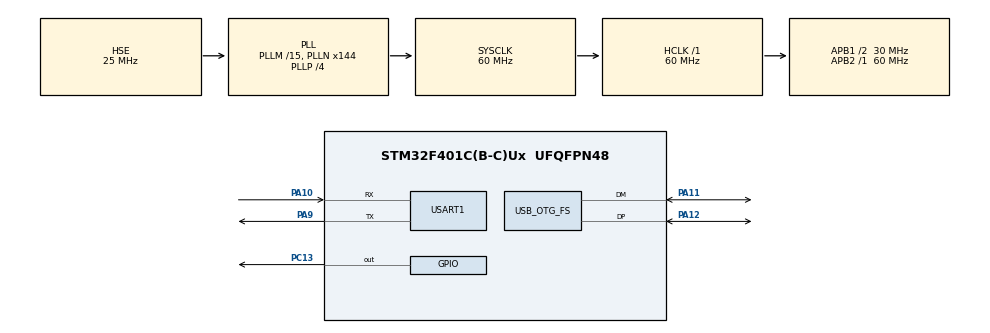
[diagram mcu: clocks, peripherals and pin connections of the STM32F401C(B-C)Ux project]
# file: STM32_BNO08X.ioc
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Dma.Request0=USART1_RX
Dma.USART1_RX.0.Direction=DMA_PERIPH_TO_MEMORY
Dma.USART1_RX.0.FIFOMode=DMA_FIFOMODE_DISABLE
Dma.USART1_RX.0.Instance=DMA2_Stream2
Dma.USART1_RX.0.MemDataAlignment=DMA_MDATAALIGN_BYTE
Dma.USART1_RX.0.MemInc=DMA_MINC_ENABLE
Dma.USART1_RX.0.Mode=DMA_CIRCULAR
Dma.USART1_RX.0.PeriphDataAlignment=DMA_PDATAALIGN_BYTE
Dma.USART1_RX.0.PeriphInc=DMA_PINC_DISABLE
Dma.USART1_RX.0.Priority=DMA_PRIORITY_LOW
Mcu.Family=STM32F4
Mcu.Name=STM32F401C(B-C)Ux
Mcu.Package=UFQFPN48
NVIC.DMA2_Stream2_IRQn=true\:0\:0\:false\:false\:true\:false\:true\:true
NVIC.OTG_FS_IRQn=true\:0\:0\:false\:false\:true\:false\:true\:true
NVIC.PriorityGroup=NVIC_PRIORITYGROUP_4
PA10.Mode=Asynchronous
PA10.Signal=USART1_RX
PA11.Mode=Device_Only
PA11.Signal=USB_OTG_FS_DM
PA12.Mode=Device_Only
PA12.Signal=USB_OTG_FS_DP
PA13.Mode=Serial_Wire
PA13.Signal=SYS_JTMS-SWDIO
PA14.Mode=Serial_Wire
PA14.Signal=SYS_JTCK-SWCLK
PA9.Mode=Asynchronous
PA9.Signal=USART1_TX
PC13-ANTI_TAMP.Signal=GPIO_Output
PH0\ -\ OSC_IN.Mode=HSE-External-Oscillator
PH0\ -\ OSC_IN.Signal=RCC_OSC_IN
PH1\ -\ OSC_OUT.Mode=HSE-External-Oscillator
PH1\ -\ OSC_OUT.Signal=RCC_OSC_OUT
ProjectManager.HeapSize=0x200
ProjectManager.StackSize=0x400
ProjectManager.TargetToolchain=STM32CubeIDE
RCC.48MHZClocksFreq_Value=48000000
RCC.AHBFreq_Value=60000000
RCC.APB1CLKDivider=RCC_HCLK_DIV2
RCC.APB1Freq_Value=30000000
RCC.APB1TimFreq_Value=60000000
RCC.APB2Freq_Value=60000000
RCC.APB2TimFreq_Value=60000000
RCC.CortexFreq_Value=60000000
RCC.HCLKFreq_Value=60000000
RCC.HSE_VALUE=25000000
RCC.HSI_VALUE=16000000
RCC.LSE_VALUE=32768
RCC.PLLM=15
RCC.PLLN=144
RCC.PLLP=RCC_PLLP_DIV4
RCC.PLLQ=5
RCC.SYSCLKFreq_VALUE=60000000
RCC.SYSCLKSource=RCC_SYSCLKSOURCE_PLLCLK
RCC.VCOOutputFreq_Value=240000000
USART1.VirtualMode=VM_ASYNC
USB_DEVICE.CLASS_NAME_FS=CDC
USB_DEVICE.PRODUCT_STRING_CDC_FS=STM32 Virtual Port
USB_DEVICE.VirtualMode=Cdc
USB_DEVICE.VirtualModeFS=Cdc_FS
USB_OTG_FS.VirtualMode=Device_Only
VP_USB_DEVICE_VS_USB_DEVICE_CDC_FS.Mode=CDC_FS
board=custom

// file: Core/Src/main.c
/* USER CODE BEGIN Header */
/**
  ******************************************************************************
  * @file           : main.c
  * @brief          : Main program body
  ******************************************************************************
  * @attention
  *
  * Copyright (c) 2024 STMicroelectronics.
  * All rights reserved.
  *
  * This software is licensed under terms that can be found in the LICENSE file
  * in the root directory of this software component.
  * If no LICENSE file comes with this software, it is provided AS-IS.
  *
  ******************************************************************************
  */
/* USER CODE END Header */
#include "main.h"
#include "usb_device.h"

/* USER CODE BEGIN Includes */
#include <stdint.h>
#include "usbd_cdc_if.h"
#include <string.h>
/* USER CODE END Includes */

/* USER CODE BEGIN PTD */
typedef struct {
    uint8_t header;
    uint8_t index;
    int16_t yaw;
    int16_t pitch;
    int16_t roll;
    int16_t x_acceleration;
    int16_t y_acceleration;
    int16_t z_acceleration;
    uint8_t mi_mr_reserved[3];
    uint8_t checksum;
} SensorData;
/* USER CODE END PTD */

UART_HandleTypeDef huart1;
DMA_HandleTypeDef hdma_usart1_rx;

/* USER CODE BEGIN PV */
uint8_t RX_Data[19];
SensorData sensordata;
/* USER CODE END PV */

void SystemClock_Config(void);
static void MX_GPIO_Init(void);
static void MX_DMA_Init(void);
static void MX_USART1_UART_Init(void);
/* USER CODE BEGIN PFP */
void parseSensorData(uint8_t *data, SensorData *sensorData);
/* USER CODE END PFP */

/* USER CODE BEGIN 0 */
char concatBuffer[50];
char *char_roll = "roll\n";
char *char_pitch = "pitch \n";
char *char_yaw = "yaw \n";
void HAL_UART_RxHalfCpltCallback(UART_HandleTypeDef *huart)
{
  HAL_GPIO_TogglePin (GPIOC, GPIO_PIN_13);  // toggle PA0
}

void HAL_UART_RxCpltCallback(UART_HandleTypeDef *huart)
{
  parseSensorData(RX_Data, &sensordata);
  snprintf(concatBuffer, sizeof(concatBuffer), "roll: %d | pitch : %d | yaw : %d\n", sensordata.roll, sensordata.pitch, sensordata.yaw);
  CDC_Transmit_FS((uint8_t*)concatBuffer, strlen(concatBuffer));
  HAL_UART_Receive_DMA(&huart1, RX_Data, sizeof(RX_Data));
}

/* USER CODE END 0 */

int main(void)
{

  /* MCU Configuration--------------------------------------------------------*/

  /* Reset of all peripherals, Initializes the Flash interface and the Systick. */
  HAL_Init();

  /* Configure the system clock */
  SystemClock_Config();

  /* Initialize all configured peripherals */
  MX_GPIO_Init();
  MX_DMA_Init();
  MX_USART1_UART_Init();
  MX_USB_DEVICE_Init();
  /* USER CODE BEGIN 2 */
  HAL_UART_Receive_DMA (&huart1, RX_Data, sizeof(RX_Data));
  /* USER CODE END 2 */

  /* Infinite loop */
  while (1)
  {

  }
}

void SystemClock_Config(void)
{
  RCC_OscInitTypeDef RCC_OscInitStruct = {0};
  RCC_ClkInitTypeDef RCC_ClkInitStruct = {0};

  /** Configure the main internal regulator output voltage
  */
  __HAL_RCC_PWR_CLK_ENABLE();
  __HAL_PWR_VOLTAGESCALING_CONFIG(PWR_REGULATOR_VOLTAGE_SCALE2);

  /** Initializes the RCC Oscillators according to the specified parameters
  * in the RCC_OscInitTypeDef structure.
  */
  RCC_OscInitStruct.OscillatorType = RCC_OSCILLATORTYPE_HSE;
  RCC_OscInitStruct.HSEState = RCC_HSE_ON;
  RCC_OscInitStruct.PLL.PLLState = RCC_PLL_ON;
  RCC_OscInitStruct.PLL.PLLSource = RCC_PLLSOURCE_HSE;
  RCC_OscInitStruct.PLL.PLLM = 15;
  RCC_OscInitStruct.PLL.PLLN = 144;
  RCC_OscInitStruct.PLL.PLLP = RCC_PLLP_DIV4;
  RCC_OscInitStruct.PLL.PLLQ = 5;
  if (HAL_RCC_OscConfig(&RCC_OscInitStruct) != HAL_OK)
  {
    Error_Handler();
  }

  /** Initializes the CPU, AHB and APB buses clocks
  */
  RCC_ClkInitStruct.ClockType = RCC_CLOCKTYPE_HCLK|RCC_CLOCKTYPE_SYSCLK
                              |RCC_CLOCKTYPE_PCLK1|RCC_CLOCKTYPE_PCLK2;
  RCC_ClkInitStruct.SYSCLKSource = RCC_SYSCLKSOURCE_PLLCLK;
  RCC_ClkInitStruct.AHBCLKDivider = RCC_SYSCLK_DIV1;
  RCC_ClkInitStruct.APB1CLKDivider = RCC_HCLK_DIV2;
  RCC_ClkInitStruct.APB2CLKDivider = RCC_HCLK_DIV1;

  if (HAL_RCC_ClockConfig(&RCC_ClkInitStruct, FLASH_LATENCY_1) != HAL_OK)
  {
    Error_Handler();
  }
}

static void MX_USART1_UART_Init(void)
{

  huart1.Instance = USART1;
  huart1.Init.BaudRate = 115200;
  huart1.Init.WordLength = UART_WORDLENGTH_8B;
  huart1.Init.StopBits = UART_STOPBITS_1;
  huart1.Init.Parity = UART_PARITY_NONE;
  huart1.Init.Mode = UART_MODE_TX_RX;
  huart1.Init.HwFlowCtl = UART_HWCONTROL_NONE;
  huart1.Init.OverSampling = UART_OVERSAMPLING_16;
  if (HAL_UART_Init(&huart1) != HAL_OK)
  {
    Error_Handler();
  }

}

static void MX_DMA_Init(void)
{

  /* DMA controller clock enable */
  __HAL_RCC_DMA2_CLK_ENABLE();

  /* DMA interrupt init */
  /* DMA2_Stream2_IRQn interrupt configuration */
  HAL_NVIC_SetPriority(DMA2_Stream2_IRQn, 0, 0);
  HAL_NVIC_EnableIRQ(DMA2_Stream2_IRQn);

}

static void MX_GPIO_Init(void)
{
  GPIO_InitTypeDef GPIO_InitStruct = {0};

  /* GPIO Ports Clock Enable */
  __HAL_RCC_GPIOC_CLK_ENABLE();
  __HAL_RCC_GPIOH_CLK_ENABLE();
  __HAL_RCC_GPIOA_CLK_ENABLE();

  /*Configure GPIO pin Output Level */
  HAL_GPIO_WritePin(GPIOC, GPIO_PIN_13, GPIO_PIN_RESET);

  /*Configure GPIO pin : PC13 */
  GPIO_InitStruct.Pin = GPIO_PIN_13;
  GPIO_InitStruct.Mode = GPIO_MODE_OUTPUT_PP;
  GPIO_InitStruct.Pull = GPIO_NOPULL;
  GPIO_InitStruct.Speed = GPIO_SPEED_FREQ_LOW;
  HAL_GPIO_Init(GPIOC, &GPIO_InitStruct);

}

/* USER CODE BEGIN 4 */
void parseSensorData(uint8_t *data, SensorData *sensorData) {
    sensorData->header = data[0];
    sensorData->index = data[2];
    sensorData->yaw = (int16_t)((data[4] << 8) | data[3]);
    sensorData->pitch = (int16_t)((data[6] << 8) | data[5]);
    sensorData->roll = (int16_t)((data[8] << 8) | data[7]);
    sensorData->x_acceleration = (int16_t)((data[10] << 8) | data[9]);
    sensorData->y_acceleration = (int16_t)((data[12] << 8) | data[11]);
    sensorData->z_acceleration = (int16_t)((data[14] << 8) | data[13]);

    // MI, MR, Reserved bytes
    for (int i = 0; i < 3; i++) {
        sensorData->mi_mr_reserved[i] = data[15 + i];
    }

    sensorData->checksum = data[18];
}
/* USER CODE END 4 */

void Error_Handler(void)
{
  __disable_irq();
  while (1)
  {
  }
}
